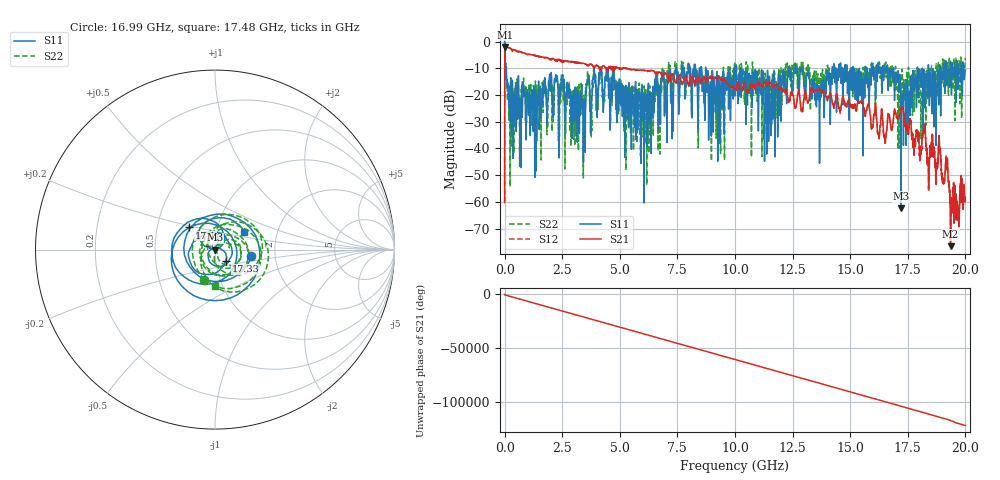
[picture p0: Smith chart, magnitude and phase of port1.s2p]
! MS46122B
! 2250307/22442219
! 2/18/2026 2:09:51 PM
! C:\USERS\SPARKY\DOCUMENTS\VNA_DATA\FEB18_2026\7K2\PORT1.S2P
! CHANNEL.1
! TR.MEASUREMENT
! RAW.DATA
# GHZ S RI R 50.0
! FREQ.GHZ  S11RE  S11IM  S21RE  S21IM  S12RE  S12IM  S22RE  S22IM
!; PortSelection: Port_12
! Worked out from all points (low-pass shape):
!   10001 points, 1 MHz to 20 GHz, reference 50 ohm
!   highest |S21| = -1.99 dB at 33 MHz (marker M1); lowest = -76.6 dB at 19.35 GHz (marker M2)
!   |S21| within 3 dB of the highest: 19.91 MHz to 1.174 GHz (1.154 GHz wide, 193 % of centre)
!   lowest |S11| = -62.5 dB at 17.2 GHz (marker M3), VSWR 1.00, Z = 50 - j0.071 ohm
!   |S11| at or under -10 dB: 76.21 MHz to 3.879 GHz (3.802 GHz wide, 192 % of centre); 4.437 GHz to 7.432 GHz (2.995 GHz wide, 50.5 % of centre); 10.05 GHz to 12.35 GHz (2.298 GHz wide, 20.5 % of centre) (the widest 3 of 56)
!   |S22| runs from -54.3 to -0.1 dB; largest |S21 - S12| = 0.063
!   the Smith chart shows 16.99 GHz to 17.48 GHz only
!   S11 on the Smith chart (normalised r, x): 16.99 GHz: 1.50, -0.12; 17.1 GHz: 0.73, +0.19; 17.33 GHz: 1.12, -0.14; 17.48 GHz: 1.35, +0.28
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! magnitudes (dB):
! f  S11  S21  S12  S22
! 1 MHz  0.4  -60.3  -60.2  -0.1
! 33 MHz  -8.8  -2.0  -2.3  -11.3
! 125 MHz  -15.6  -2.1  -2.1  -21.6
! 439 MHz  -22.9  -3.2  -3.1  -20.7
! 2.239 GHz  -14.0  -6.9  -6.9  -14.6
! 3.335 GHz  -17.2  -8.2  -8.2  -17.4
! 4.151 GHz  -9.6  -10.7  -10.9  -9.6
! 5.257 GHz  -17.9  -9.9  -9.9  -35.6
! 6.669 GHz  -24.6  -11.4  -11.5  -26.6
! 7.983 GHz  -8.8  -16.5  -16.6  -9.6
! 9.357 GHz  -22.2  -13.6  -13.4  -32.5
! 10 GHz  -19.0  -17.8  -17.1  -8.8
! 13.33 GHz  -21.5  -17.5  -17.6  -16.5
! 16.67 GHz  -12.9  -27.6  -27.6  -12.8
! 16.99 GHz  -13.7  -27.7  -27.7  -15.0
! 17.1 GHz  -14.4  -28.4  -28.7  -17.3
! 17.2 GHz  -62.5  -25.1  -25.0  -21.6
! 17.33 GHz  -21.2  -27.3  -27.2  -15.3
! 17.48 GHz  -14.5  -32.8  -32.7  -13.8
! 18.86 GHz  -13.8  -35.6  -35.7  -16.1
! 19.35 GHz  -7.5  -76.6  -74.9  -16.1
! 20 GHz  -10.7  -58.3  -59.1  -6.1
